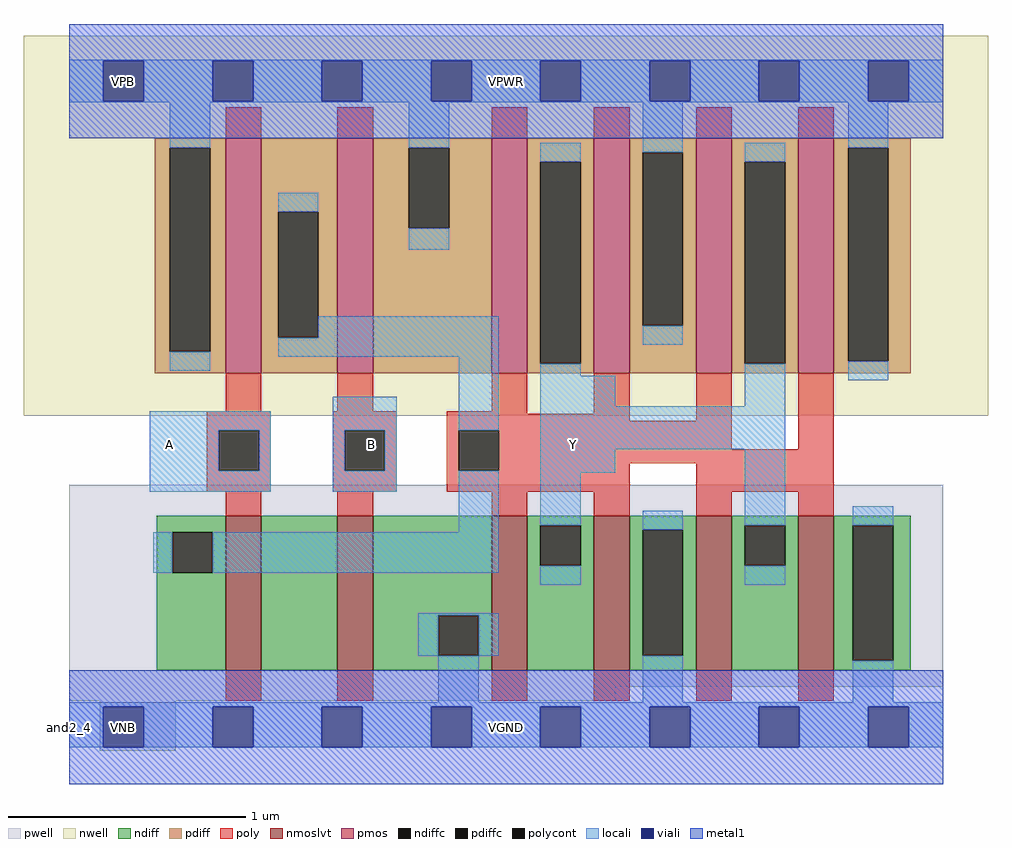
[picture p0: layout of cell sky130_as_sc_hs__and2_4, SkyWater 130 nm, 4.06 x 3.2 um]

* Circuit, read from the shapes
.subckt sky130_as_sc_hs__and2_4 VNB VPB VPWR VGND A B Y
XM1 n1 A n2 VNB sky130_fd_pr__nfet_01v8_lvt w=0.65 l=0.15
XM2 VGND B n1 VNB sky130_fd_pr__nfet_01v8_lvt w=0.65 l=0.15
XM3 Y n2 VGND VNB sky130_fd_pr__nfet_01v8_lvt w=0.65 l=0.15 m=4
XM4 n2 A VPWR VPB sky130_fd_pr__pfet_01v8 w=0.99 l=0.15
XM5 VPWR B n2 VPB sky130_fd_pr__pfet_01v8 w=0.99 l=0.15
XM6 Y n2 VPWR VPB sky130_fd_pr__pfet_01v8 w=0.99 l=0.15 m=4
.ends

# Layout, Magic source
magic
tech sky130A
magscale 1 2
<< nwell >>
rect -38 262 774 582
<< pwell >>
rect 0 34 736 204
rect 0 22 460 34
rect 26 -20 90 22
<< pmos >>
rect 132 298 162 496
rect 226 298 256 496
rect 356 298 386 496
rect 442 298 472 496
rect 528 298 558 496
rect 614 298 644 496
<< nmoslvt >>
rect 132 48 162 178
rect 226 48 256 178
rect 356 48 386 178
rect 442 48 472 178
rect 528 48 558 178
rect 614 48 644 178
<< ndiff >>
rect 74 164 132 178
rect 74 130 87 164
rect 121 130 132 164
rect 74 48 132 130
rect 162 48 226 178
rect 256 94 356 178
rect 256 60 311 94
rect 345 60 356 94
rect 256 48 356 60
rect 386 170 442 178
rect 386 136 397 170
rect 431 136 442 170
rect 386 48 442 136
rect 472 166 528 178
rect 472 60 483 166
rect 517 60 528 166
rect 472 48 528 60
rect 558 170 614 178
rect 558 136 569 170
rect 603 136 614 170
rect 558 48 614 136
rect 644 170 709 178
rect 644 56 660 170
rect 694 56 709 170
rect 644 48 709 56
<< pdiff >>
rect 72 488 132 496
rect 72 316 85 488
rect 119 316 132 488
rect 72 298 132 316
rect 162 434 226 496
rect 162 328 176 434
rect 210 328 226 434
rect 162 298 226 328
rect 256 488 356 496
rect 256 420 286 488
rect 320 420 356 488
rect 256 298 356 420
rect 386 476 442 496
rect 386 306 397 476
rect 431 306 442 476
rect 386 298 442 306
rect 472 484 528 496
rect 472 338 483 484
rect 517 338 528 484
rect 472 298 528 338
rect 558 476 614 496
rect 558 306 569 476
rect 603 306 614 476
rect 558 298 614 306
rect 644 488 709 496
rect 644 308 656 488
rect 690 308 709 488
rect 644 298 709 308
<< ndiffc >>
rect 87 130 121 164
rect 311 60 345 94
rect 397 136 431 170
rect 483 60 517 166
rect 569 136 603 170
rect 660 56 694 170
<< pdiffc >>
rect 85 316 119 488
rect 176 328 210 434
rect 286 420 320 488
rect 397 306 431 476
rect 483 338 517 484
rect 569 306 603 476
rect 656 308 690 488
<< poly >>
rect 132 496 162 522
rect 226 496 256 522
rect 356 496 386 522
rect 442 496 472 522
rect 528 496 558 522
rect 614 496 644 522
rect 132 266 162 298
rect 226 266 256 298
rect 356 266 386 298
rect 116 250 170 266
rect 116 216 126 250
rect 160 216 170 250
rect 116 198 170 216
rect 222 250 276 266
rect 222 216 232 250
rect 266 216 276 250
rect 222 198 276 216
rect 318 264 386 266
rect 442 264 472 298
rect 318 258 472 264
rect 528 258 558 298
rect 318 250 558 258
rect 318 216 328 250
rect 362 234 558 250
rect 614 234 644 298
rect 362 222 644 234
rect 362 216 472 222
rect 318 198 472 216
rect 132 178 162 198
rect 226 178 256 198
rect 356 178 386 198
rect 442 178 472 198
rect 528 198 644 222
rect 528 178 558 198
rect 614 178 644 198
rect 132 22 162 48
rect 226 22 256 48
rect 356 22 386 48
rect 442 22 472 48
rect 528 22 558 48
rect 614 22 644 48
<< polycont >>
rect 126 216 160 250
rect 232 216 266 250
rect 328 216 362 250
<< locali >>
rect 0 561 736 562
rect 0 527 29 561
rect 63 527 121 561
rect 155 527 213 561
rect 247 527 305 561
rect 339 527 397 561
rect 431 527 489 561
rect 523 527 581 561
rect 615 527 673 561
rect 707 527 736 561
rect 0 526 736 527
rect 85 488 119 526
rect 286 488 320 526
rect 85 300 119 316
rect 176 434 210 450
rect 286 402 320 420
rect 397 476 431 492
rect 210 328 362 346
rect 176 312 362 328
rect 68 250 170 266
rect 68 216 126 250
rect 160 216 170 250
rect 68 198 170 216
rect 222 250 276 278
rect 222 216 232 250
rect 266 216 276 250
rect 222 198 276 216
rect 328 250 362 312
rect 328 164 362 216
rect 71 130 87 164
rect 121 130 362 164
rect 483 484 517 526
rect 483 322 517 338
rect 569 476 603 492
rect 397 296 431 306
rect 397 270 460 296
rect 569 270 603 306
rect 656 488 690 526
rect 656 292 690 308
rect 397 234 603 270
rect 397 214 460 234
rect 397 170 431 214
rect 397 120 431 136
rect 483 166 517 182
rect 294 94 362 96
rect 294 60 311 94
rect 345 60 362 94
rect 569 170 603 234
rect 569 120 603 136
rect 660 170 694 186
rect 311 21 345 60
rect 483 21 517 60
rect 660 21 694 56
rect 0 17 736 21
rect 0 -17 29 17
rect 63 -17 121 17
rect 155 -17 213 17
rect 247 -17 305 17
rect 339 -17 397 17
rect 431 -17 489 17
rect 523 -17 581 17
rect 615 -17 673 17
rect 707 -17 736 17
<< viali >>
rect 29 527 63 561
rect 121 527 155 561
rect 213 527 247 561
rect 305 527 339 561
rect 397 527 431 561
rect 489 527 523 561
rect 581 527 615 561
rect 673 527 707 561
rect 29 -17 63 17
rect 121 -17 155 17
rect 213 -17 247 17
rect 305 -17 339 17
rect 397 -17 431 17
rect 489 -17 523 17
rect 581 -17 615 17
rect 673 -17 707 17
<< metal1 >>
rect 0 561 736 592
rect 0 527 29 561
rect 63 527 121 561
rect 155 527 213 561
rect 247 527 305 561
rect 339 527 397 561
rect 431 527 489 561
rect 523 527 581 561
rect 615 527 673 561
rect 707 527 736 561
rect 0 496 736 527
rect 0 17 736 48
rect 0 -17 29 17
rect 63 -17 121 17
rect 155 -17 213 17
rect 247 -17 305 17
rect 339 -17 397 17
rect 431 -17 489 17
rect 523 -17 581 17
rect 615 -17 673 17
rect 707 -17 736 17
rect 0 -48 736 -17
<< labels >>
rlabel comment s 0 0 0 0 4 and2_4
flabel pwell s 29 -17 63 17 0 FreeSans 200 0 0 0 VNB
port 1 nsew ground bidirectional
flabel pwell s 46 0 46 0 0 FreeSans 200 0 0 0 VNB
flabel nwell s 29 527 63 561 0 FreeSans 200 0 0 0 VPB
port 2 nsew power bidirectional
flabel nwell s 46 544 46 544 0 FreeSans 200 0 0 0 VPB
flabel metal1 s 29 527 63 561 0 FreeSans 200 0 0 0 VPWR
port 3 nsew power bidirectional abutment
flabel metal1 s 29 -17 63 17 0 FreeSans 200 0 0 0 VGND
port 4 nsew ground bidirectional abutment
rlabel metal1 s 0 -48 736 48 1 VGND
port 4 nsew ground bidirectional abutment
rlabel metal1 s 0 496 736 592 1 VPWR
port 3 nsew power bidirectional abutment
flabel locali s 68 221 102 255 0 FreeSans 200 0 0 0 A
port 5 nsew signal input
flabel locali s 85 238 85 238 0 FreeSans 200 0 0 0 A
flabel locali s 238 221 272 255 0 FreeSans 200 0 0 0 B
port 6 nsew signal input
flabel locali s 255 238 255 238 0 FreeSans 200 0 0 0 B
flabel locali s 408 221 442 255 0 FreeSans 200 0 0 0 Y
port 7 nsew signal output
flabel locali s 425 238 425 238 0 FreeSans 200 0 0 0 Y
<< properties >>
string FIXED_BBOX 0 0 736 544
string GDS_FILE $PDKPATH/libs.ref/sky130_as_sc_hs/gds/sky130_as_sc_hs__and2_4.gds
string LEFclass CORE
string LEFsite unithd
string LEFsymmetry X Y R90
string MASKHINTS_LVTN 0 -4 736 220
string MASKHINTS_NSDM 0 -38 736 209
string MASKHINTS_PSDM 0 273 736 582
<< end >>
